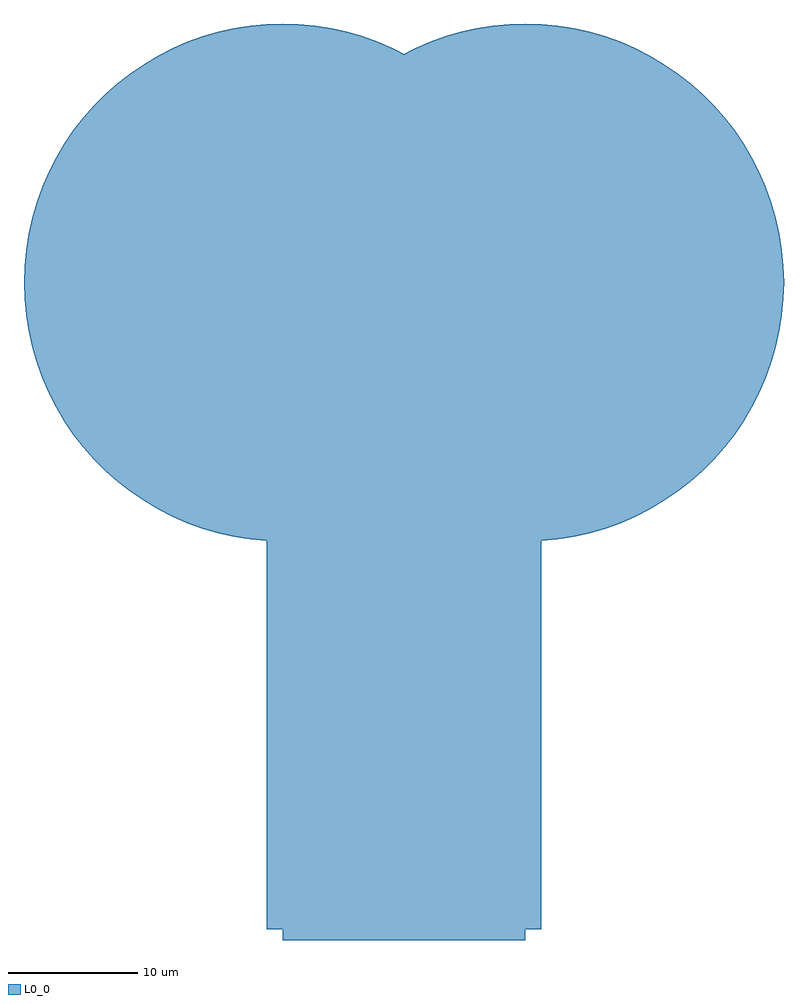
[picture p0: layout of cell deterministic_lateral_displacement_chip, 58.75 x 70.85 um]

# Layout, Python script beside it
import gdspy

# Define the design specifications
gap_size = 0.225  # in microns
pillar_size = 0.4  # in microns
width = 30  # number of pillars
row_shift_fraction = 0.1  # fraction of pillar size
inlet_diameter = 40  # in microns
outlet_diameter = 40  # in microns
bus_width = 20  # in microns
bus_height = 50  # in microns

# Create the GDS library and cell
lib = gdspy.GdsLibrary()
cell = lib.new_cell('deterministic_lateral_displacement_chip')

# Create the channel with pillars
pillar_spacing = gap_size + pillar_size
channel_length = width * pillar_spacing
channel_width = pillar_size + 2 * gap_size

# Create the channel shape
channel = gdspy.Rectangle((0, 0), (channel_length, channel_width))
cell.add(channel)

# Create the pillars
for i in range(width):
    x = i * pillar_spacing + gap_size
    y = gap_size + row_shift_fraction * pillar_size if i % 2 else gap_size
    pillar = gdspy.Round((x, y), pillar_size/2)
    cell.add(pillar)

# Create the inlet and outlet
inlet = gdspy.Round((0, channel_width + bus_height), inlet_diameter/2)
outlet = gdspy.Round((channel_length, channel_width + bus_height), outlet_diameter/2)
cell.add(inlet)
cell.add(outlet)

# Create the bus to connect the inlet and outlet to the channel
bus_in = gdspy.Rectangle((0, channel_width), (bus_width, channel_width + bus_height))
bus_out = gdspy.Rectangle((channel_length - bus_width, channel_width), (channel_length, channel_width + bus_height))
cell.add(bus_in)
cell.add(bus_out)

# Save the design to a GDS file
lib.write_gds('deterministic_lateral_displacement_chip.gds')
